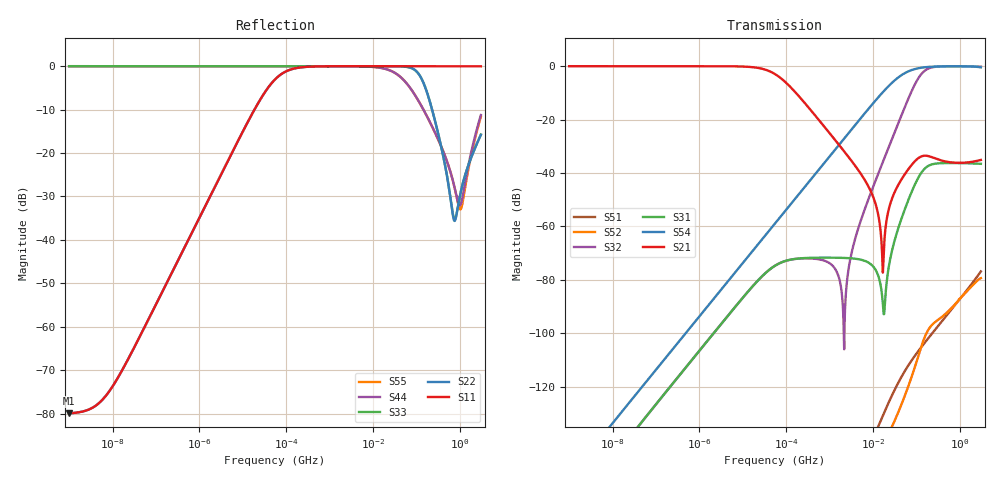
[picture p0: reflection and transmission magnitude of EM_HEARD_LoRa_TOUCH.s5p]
! TOUCHSTONE file generated by CST MICROWAVE STUDIO
! Date and time: Wed Jul  1 12:37:51 2026
! Project name: EM_HEARD_LoRa.cst
! Header version: 2024
! Port assignment regex: !\s*Touchstone port\s*([0-9]+)\s*=\s*(CST MWS port|CST DES external port|CST DES block port)\s*(.+)\s* \(\"(.*)\"\)(\s*mode\s*([0-9]+))?.*
! Touchstone port assignment:
! Touchstone port 1 = CST MWS port 1 ("VR_PA")
! Touchstone port 2 = CST MWS port 2 ("RF_IN")
! Touchstone port 3 = CST MWS port 3 ("IPD_IN")
! Touchstone port 4 = CST MWS port 4 ("IPD_OUT")
! Touchstone port 5 = CST MWS port 5 ("ANT")
# MHz S MA R 50
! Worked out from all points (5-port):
!   1008 points, 1 Hz to 3 GHz, reference 50 ohm
!   strongest paths, dB at 1 Hz, 244.5 Hz, 57.22 kHz, 13.1 MHz, 3 GHz:
!     S21: 0.0, 0.0, -3.2, -55.9, -35.1
!     S54: -, -105.9, -58.5, -11.6, -0.5
!     S31: -, -118.8, -74.5, -78.6, -36.6
!     S32: -, -118.8, -74.5, -40.2, -0.2
!     S52: -, -, -175.8, -144.6, -79.4
!     S51: -, -, -175.8, -134.7, -76.9
!   lowest |S11| = -79.9 dB at 1 Hz (marker M1), VSWR 1.00, Z = 50 - j0.00172 ohm
!   |S11| at or under -10 dB: start of sweep to 18.45 kHz
